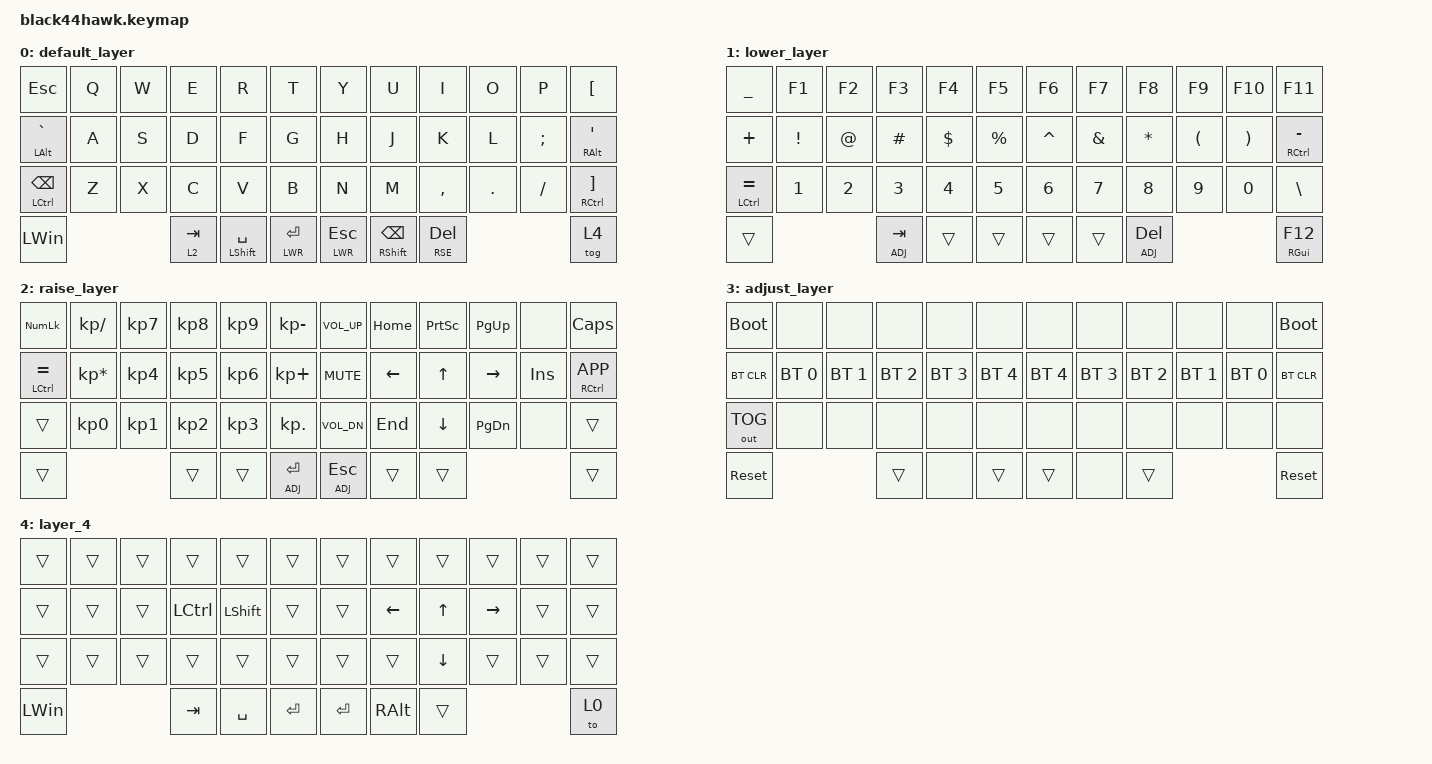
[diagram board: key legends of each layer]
/*
 * Copyright (c) 2022 The ZMK Contributors
 *
 * SPDX-License-Identifier: MIT
 */

#include <behaviors.dtsi>
#include <dt-bindings/zmk/bt.h>
#include <dt-bindings/zmk/keys.h>
#include <dt-bindings/zmk/outputs.h>

#define DEF 0
#define LWR 1
#define RSE 2
#define ADJ 3

&lt {
    quick_tap_ms = <200>;
};

&mt {
    quick_tap_ms = <200>;
};

/ {
    keymap {
        compatible = "zmk,keymap";

        default_layer {
            // -----------------------------------------------------------------------------------------
            // |  GUI |   ~  |  Q  |  W  |  E  |  R  |  T  |   |  Y  |  U   |  I  |  O  |  P  |  [   | GUI/] |
            //        | CTRL |  A  |  S  |  D  |  F  |  G  |   |  H  |  J   |  K  |  L  |  ;  |CTRL/'|
            //        | LALT |  Z  |  X  |  C  |  V  |  B  |   |  N  |  M   |  ,  |  .  |  /  | RALT |
            //                           | RSE | SPC | LWR |   | LWR | BKSP | RSE |

            bindings = <
&kp ESC         &kp Q  &kp W  &kp E      &kp R            &kp T        &kp Y        &kp U           &kp I        &kp O    &kp P     &kp LBKT
&mt LALT GRAVE  &kp A  &kp S  &kp D      &kp F            &kp G        &kp H        &kp J           &kp K        &kp L    &kp SEMI  &mt RIGHT_ALT SQT
&mt LCTRL BSPC  &kp Z  &kp X  &kp C      &kp V            &kp B        &kp N        &kp M           &kp COMMA    &kp DOT  &kp FSLH  &mt RIGHT_CONTROL RIGHT_BRACKET
&kp LEFT_WIN                  &lt 2 TAB  &mt LSHFT SPACE  &lt LWR RET  &lt LWR ESC  &mt RSHFT BSPC  &lt RSE DEL                     &tog 4
            >;
        };

        lower_layer {
            // -----------------------------------------------------------------------------------------
            // |     |  _  |  F1 |  F2 |  F3 |  F4 |  F5 |   |  F6 |  F7 |  F8 |  F9 | F10 | F11 | F12 |
            //       |  +  |  !  |  @  |  #  |  $  |  %  |   |  ^  |  &  |  *  |  (  |  )  |  -  |
            //       |  =  |  1  |  2  |  3  |  4  |  5  |   |  6  |  7  |  8  |  9  |  0  |     |
            //                    | GUI |     | SPC |   | ENT |     | ALT |

            bindings = <
&kp UNDER               &kp F1    &kp F2  &kp F3       &kp F4    &kp F5     &kp F6     &kp F7    &kp F8       &kp F9    &kp F10   &kp F11
&kp PLUS                &kp EXCL  &kp AT  &kp HASH     &kp DLLR  &kp PRCNT  &kp CARET  &kp AMPS  &kp STAR     &kp LPAR  &kp RPAR  &mt RCTRL MINUS
&mt LEFT_CONTROL EQUAL  &kp N1    &kp N2  &kp N3       &kp N4    &kp N5     &kp N6     &kp N7    &kp N8       &kp N9    &kp N0    &kp BSLH
&trans                                    &lt ADJ TAB  &trans    &trans     &trans     &trans    &lt ADJ DEL                      &mt RGUI F12
            >;
        };

        raise_layer {
            // -----------------------------------------------------------------------------------------
            // |     | NMLK |  /  |  7  |  8  |  9  |  -  |   | VOLU| HOME| PRSC| PGUP| SCLK| CLCK|     |
            //       | CTRL |  *  |  4  |  5  |  6  |  +  |   | MUT | LEFT|  UP | RGHT| INS | APP |
            //       |      |  0  |  1  |  2  |  3  |  .  |   | VOLD| END | DOWN| PGDN| PAUS|     |
            //                          |     |     | ADJ |   | ADJ |     |     |

            bindings = <
&kp KP_NUM       &kp KP_SLASH     &kp KP_N7  &kp KP_N8  &kp KP_N9  &kp KP_MINUS  &kp C_VOL_UP  &kp HOME  &kp PSCRN  &kp PG_UP  &none    &kp CAPS
&mt LCTRL EQUAL  &kp KP_MULTIPLY  &kp KP_N4  &kp KP_N5  &kp KP_N6  &kp KP_PLUS   &kp C_MUTE    &kp LEFT  &kp UP     &kp RIGHT  &kp INS  &mt RCTRL K_APP
&trans           &kp KP_N0        &kp KP_N1  &kp KP_N2  &kp KP_N3  &kp KP_DOT    &kp C_VOL_DN  &kp END   &kp DOWN   &kp PG_DN  &none    &trans
&trans                                       &trans     &trans     &lt ADJ RET   &lt ADJ ESC   &trans    &trans                         &trans
            >;
        };

        adjust_layer {
            // -----------------------------------------------------------------------------------------
            // | RST | BLDR |     |     |     |     |     |   |     |     |     |     |     | BLDR | RST |
            //       | BTCLR| BT0 | BT1 | BT2 | BT3 | BT4 |   | BT4 | BT3 | BT2 | BT1 | BT0 | BTCLR|
            //       |      |     |     |     |     |     |   |     |     |     |     |     |      |
            //                          |     |     |     |   |     |     |     |

            bindings = <
&bootloader   &none         &none         &none         &none         &none         &none         &none         &none         &none         &none         &bootloader
&bt BT_CLR    &bt BT_SEL 0  &bt BT_SEL 1  &bt BT_SEL 2  &bt BT_SEL 3  &bt BT_SEL 4  &bt BT_SEL 4  &bt BT_SEL 3  &bt BT_SEL 2  &bt BT_SEL 1  &bt BT_SEL 0  &bt BT_CLR
&out OUT_TOG  &none         &none         &none         &none         &none         &none         &none         &none         &none         &none         &none
&sys_reset                                &trans        &none         &trans        &trans        &none         &trans                                    &sys_reset
            >;
        };

        layer_4 {
            bindings = <
&trans    &trans  &trans  &trans     &trans     &trans   &trans     &trans          &trans    &trans     &trans  &trans
&trans    &trans  &trans  &kp LCTRL  &kp LSHFT  &trans   &trans     &kp LEFT_ARROW  &kp UP    &kp RIGHT  &trans  &trans
&trans    &trans  &trans  &trans     &trans     &trans   &trans     &trans          &kp DOWN  &trans     &trans  &trans
&kp LWIN                  &kp TAB    &kp SPACE  &kp RET  &kp ENTER  &kp RIGHT_ALT   &trans                       &to 0
            >;
        };
    };
};
